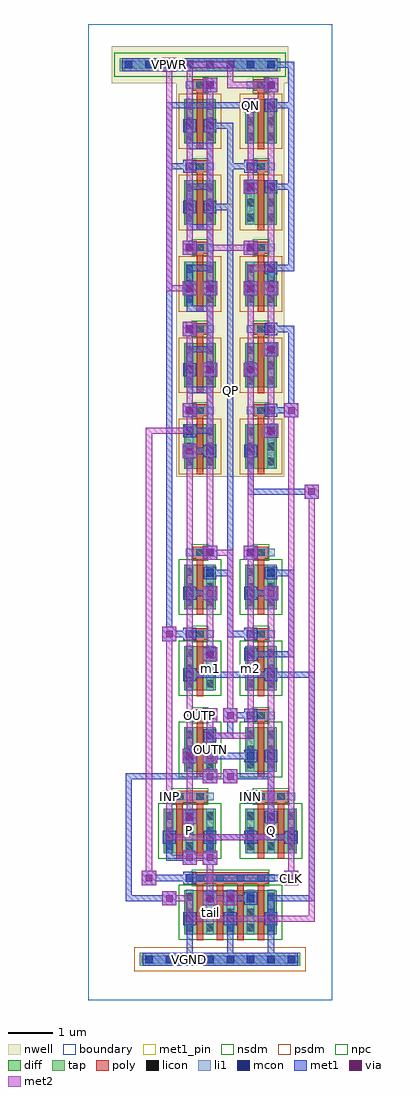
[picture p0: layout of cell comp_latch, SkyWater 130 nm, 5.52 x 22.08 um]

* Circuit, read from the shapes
.subckt comp_latch CLK INN INP OUTN OUTP P Q QN QP VGND VPWR m1 m2 tail
XM1 P INP tail VGND sky130_fd_pr__nfet_01v8 w=1 l=0.15 m=2
XM2 tail CLK VGND VGND sky130_fd_pr__nfet_01v8 w=1 l=0.15 m=4
XM3 OUTN OUTP P VGND sky130_fd_pr__nfet_01v8 w=1 l=0.15
XM4 m1 QN VGND VGND sky130_fd_pr__nfet_01v8 w=1 l=0.15
XM5 QP OUTN m1 VGND sky130_fd_pr__nfet_01v8 w=1 l=0.15
XM6 Q INN tail VGND sky130_fd_pr__nfet_01v8 w=1 l=0.15 m=2
XM7 Q OUTN OUTP VGND sky130_fd_pr__nfet_01v8 w=1 l=0.15
XM8 VGND QP m2 VGND sky130_fd_pr__nfet_01v8 w=1 l=0.15
XM9 m2 OUTP QN VGND sky130_fd_pr__nfet_01v8 w=1 l=0.15
XM10 P CLK VPWR VPWR sky130_fd_pr__pfet_01v8 w=1 l=0.15
XM11 OUTN CLK VPWR VPWR sky130_fd_pr__pfet_01v8 w=1 l=0.15
XM12 OUTN OUTP VPWR VPWR sky130_fd_pr__pfet_01v8 w=1 l=0.15
XM13 QP QN VPWR VPWR sky130_fd_pr__pfet_01v8 w=1 l=0.15
XM14 QP OUTN VPWR VPWR sky130_fd_pr__pfet_01v8 w=1 l=0.15
XM15 VPWR CLK Q VPWR sky130_fd_pr__pfet_01v8 w=1 l=0.15
XM16 VPWR CLK OUTP VPWR sky130_fd_pr__pfet_01v8 w=1 l=0.15
XM17 VPWR OUTN OUTP VPWR sky130_fd_pr__pfet_01v8 w=1 l=0.15
XM18 VPWR QP QN VPWR sky130_fd_pr__pfet_01v8 w=1 l=0.15
XM19 VPWR OUTP QN VPWR sky130_fd_pr__pfet_01v8 w=1 l=0.15
.ends

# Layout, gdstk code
import gdstk
lib = gdstk.Library(unit=1e-6, precision=1e-09)
def R(c, l, rs):  # rectangles x0, y0, x1, y1
    for r in rs: c.add(gdstk.rectangle(r[:2], r[2:], *l))
def A(c, l, x, y, w, h, nx, ny, dx, dy):  # array of equal rectangles
    R(c, l, [(x+i*dx, y+j*dy, x+i*dx+w, y+j*dy+h) for i in range(nx) for j in range(ny)])
nwell = (64, 20)
diff = (65, 20)
tap = (65, 44)
poly = (66, 20)
licon = (66, 44)
li1 = (67, 20)
mcon = (67, 44)
met1_pin = (68, 16)
met1 = (68, 20)
via = (68, 44)
met2 = (69, 20)
nsdm = (93, 44)
psdm = (94, 20)
npc = (95, 20)
boundary = (235, 4)

comp_latch = lib.new_cell('comp_latch')
R(comp_latch, nwell, [(1.995,11.84,4.445,20.74), (0.535,20.74,4.525,21.58)])
A(comp_latch, diff, 2.175, 5.165, 0.71, 1, 1, 3, 0, 1.84)
A(comp_latch, diff, 3.555, 5.165, 0.71, 1, 1, 3, 0, 1.84)
A(comp_latch, diff, 2.175, 12.02, 0.71, 1, 1, 5, 0, 1.84)
A(comp_latch, diff, 3.555, 12.02, 0.71, 1, 1, 5, 0, 1.84)
R(comp_latch, diff, [(2.175,1.485,4.265,2.485), (1.715,3.325,2.885,4.325), (3.555,3.325,4.725,4.325)])
R(comp_latch, tap, [(1.175,0.775,4.805,1.065), (0.715,21.015,4.345,21.305)])
A(comp_latch, poly, 2.455, 1.355, 0.15, 1.405, 4, 1, 0.46, 0)
A(comp_latch, poly, 2.455, 3.195, 0.15, 1.405, 1, 4, 0, 1.84)
A(comp_latch, poly, 3.835, 3.195, 0.15, 1.405, 1, 4, 0, 1.84)
A(comp_latch, poly, 2.365, 6.305, 0.33, 0.27, 1, 3, 0, 1.84)
A(comp_latch, poly, 3.745, 6.305, 0.33, 0.27, 1, 3, 0, 1.84)
A(comp_latch, poly, 2.455, 11.89, 0.15, 1.45, 1, 5, 0, 1.84)
A(comp_latch, poly, 3.835, 11.89, 0.15, 1.45, 1, 5, 0, 1.84)
A(comp_latch, poly, 2.365, 13.205, 0.33, 0.27, 1, 5, 0, 1.84)
A(comp_latch, poly, 3.745, 13.205, 0.33, 0.27, 1, 5, 0, 1.84)
R(comp_latch, poly, [(2.365,2.625,4.075,2.895), (1.995,3.195,2.145,4.6), (4.295,3.195,4.445,4.6), (1.905,4.465,2.695,4.735), (3.745,4.465,4.535,4.735)])
A(comp_latch, licon, 1.295, 0.835, 0.17, 0.17, 8, 1, 0.46, 0)
A(comp_latch, licon, 2.215, 1.56, 0.17, 0.17, 5, 3, 0.46, 0.34)
A(comp_latch, licon, 2.445, 2.675, 0.17, 0.17, 4, 1, 0.46, 0)
A(comp_latch, licon, 1.755, 3.4, 0.17, 0.17, 3, 3, 0.46, 0.34)
A(comp_latch, licon, 3.595, 3.4, 0.17, 0.17, 3, 3, 0.46, 0.34)
A(comp_latch, licon, 2.445, 4.515, 0.17, 0.17, 1, 4, 0, 1.84)
A(comp_latch, licon, 3.825, 4.515, 0.17, 0.17, 1, 4, 0, 1.84)
A(comp_latch, licon, 2.215, 5.24, 0.17, 0.17, 1, 3, 0, 0.34)
A(comp_latch, licon, 2.675, 5.24, 0.17, 0.17, 1, 3, 0, 0.34)
A(comp_latch, licon, 3.595, 5.24, 0.17, 0.17, 1, 3, 0, 0.34)
A(comp_latch, licon, 4.055, 5.24, 0.17, 0.17, 1, 3, 0, 0.34)
A(comp_latch, licon, 2.215, 7.08, 0.17, 0.17, 1, 3, 0, 0.34)
A(comp_latch, licon, 2.675, 7.08, 0.17, 0.17, 1, 3, 0, 0.34)
A(comp_latch, licon, 3.595, 7.08, 0.17, 0.17, 1, 3, 0, 0.34)
A(comp_latch, licon, 4.055, 7.08, 0.17, 0.17, 1, 3, 0, 0.34)
A(comp_latch, licon, 2.215, 8.92, 0.17, 0.17, 1, 3, 0, 0.34)
A(comp_latch, licon, 2.675, 8.92, 0.17, 0.17, 1, 3, 0, 0.34)
A(comp_latch, licon, 3.595, 8.92, 0.17, 0.17, 1, 3, 0, 0.34)
A(comp_latch, licon, 4.055, 8.92, 0.17, 0.17, 1, 3, 0, 0.34)
A(comp_latch, licon, 2.215, 12.095, 0.17, 0.17, 1, 3, 0, 0.34)
A(comp_latch, licon, 2.675, 12.095, 0.17, 0.17, 1, 3, 0, 0.34)
A(comp_latch, licon, 3.595, 12.095, 0.17, 0.17, 1, 3, 0, 0.34)
A(comp_latch, licon, 4.055, 12.095, 0.17, 0.17, 1, 3, 0, 0.34)
A(comp_latch, licon, 2.445, 13.255, 0.17, 0.17, 1, 5, 0, 1.84)
A(comp_latch, licon, 3.825, 13.255, 0.17, 0.17, 1, 5, 0, 1.84)
A(comp_latch, licon, 2.215, 13.935, 0.17, 0.17, 1, 3, 0, 0.34)
A(comp_latch, licon, 2.675, 13.935, 0.17, 0.17, 1, 3, 0, 0.34)
A(comp_latch, licon, 3.595, 13.935, 0.17, 0.17, 1, 3, 0, 0.34)
A(comp_latch, licon, 4.055, 13.935, 0.17, 0.17, 1, 3, 0, 0.34)
A(comp_latch, licon, 2.215, 15.775, 0.17, 0.17, 1, 3, 0, 0.34)
A(comp_latch, licon, 2.675, 15.775, 0.17, 0.17, 1, 3, 0, 0.34)
A(comp_latch, licon, 3.595, 15.775, 0.17, 0.17, 1, 3, 0, 0.34)
A(comp_latch, licon, 4.055, 15.775, 0.17, 0.17, 1, 3, 0, 0.34)
A(comp_latch, licon, 2.215, 17.615, 0.17, 0.17, 1, 3, 0, 0.34)
A(comp_latch, licon, 2.675, 17.615, 0.17, 0.17, 1, 3, 0, 0.34)
A(comp_latch, licon, 3.595, 17.615, 0.17, 0.17, 1, 3, 0, 0.34)
A(comp_latch, licon, 4.055, 17.615, 0.17, 0.17, 1, 3, 0, 0.34)
A(comp_latch, licon, 2.215, 19.455, 0.17, 0.17, 1, 3, 0, 0.34)
A(comp_latch, licon, 2.675, 19.455, 0.17, 0.17, 1, 3, 0, 0.34)
A(comp_latch, licon, 3.595, 19.455, 0.17, 0.17, 1, 3, 0, 0.34)
A(comp_latch, licon, 4.055, 19.455, 0.17, 0.17, 1, 3, 0, 0.34)
A(comp_latch, licon, 0.835, 21.075, 0.17, 0.17, 8, 1, 0.46, 0)
R(comp_latch, licon, [(1.985,4.515,2.155,4.685), (4.285,4.515,4.455,4.685)])
A(comp_latch, li1, 2.215, 1.48, 0.17, 1.01, 5, 1, 0.46, 0)
A(comp_latch, li1, 1.755, 3.32, 0.17, 1.01, 3, 1, 0.46, 0)
A(comp_latch, li1, 3.595, 3.32, 0.17, 1.01, 3, 1, 0.46, 0)
A(comp_latch, li1, 2.215, 5.16, 0.17, 1.01, 1, 3, 0, 1.84)
A(comp_latch, li1, 2.675, 5.16, 0.17, 1.01, 1, 3, 0, 1.84)
A(comp_latch, li1, 3.595, 5.16, 0.17, 1.01, 1, 3, 0, 1.84)
A(comp_latch, li1, 4.055, 5.16, 0.17, 1.01, 1, 3, 0, 1.84)
A(comp_latch, li1, 2.215, 6.355, 0.63, 0.17, 1, 3, 0, 1.84)
A(comp_latch, li1, 3.595, 6.355, 0.63, 0.17, 1, 3, 0, 1.84)
A(comp_latch, li1, 2.215, 12.015, 0.17, 1.01, 1, 5, 0, 1.84)
A(comp_latch, li1, 2.675, 12.015, 0.17, 1.01, 1, 5, 0, 1.84)
A(comp_latch, li1, 3.595, 12.015, 0.17, 1.01, 1, 5, 0, 1.84)
A(comp_latch, li1, 4.055, 12.015, 0.17, 1.01, 1, 5, 0, 1.84)
A(comp_latch, li1, 2.215, 13.255, 0.63, 0.17, 1, 5, 0, 1.84)
A(comp_latch, li1, 3.595, 13.255, 0.63, 0.17, 1, 5, 0, 1.84)
R(comp_latch, li1, [(1.215,0.835,4.765,1.005), (2.215,2.675,4.225,2.845), (1.755,4.515,2.845,4.685), (3.595,4.515,4.685,4.685), (0.755,21.075,4.305,21.245)])
A(comp_latch, mcon, 1.295, 0.835, 0.17, 0.17, 8, 1, 0.46, 0)
A(comp_latch, mcon, 2.215, 1.755, 0.17, 0.17, 3, 1, 0.92, 0)
A(comp_latch, mcon, 2.215, 2.675, 0.17, 0.17, 1, 3, 0, 1.38)
A(comp_latch, mcon, 1.755, 3.595, 0.17, 0.17, 4, 1, 0.92, 0)
A(comp_latch, mcon, 3.595, 4.515, 0.17, 0.17, 1, 3, 0, 0.92)
A(comp_latch, mcon, 2.215, 7.275, 0.17, 0.17, 1, 3, 0, 0.92)
A(comp_latch, mcon, 3.595, 8.195, 0.17, 0.17, 1, 3, 0, 0.92)
A(comp_latch, mcon, 2.675, 12.335, 0.17, 0.17, 1, 5, 0, 1.84)
A(comp_latch, mcon, 3.595, 12.335, 0.17, 0.17, 1, 3, 0, 1.84)
A(comp_latch, mcon, 2.215, 13.255, 0.17, 0.17, 1, 8, 0, 0.92)
A(comp_latch, mcon, 4.055, 16.475, 0.17, 0.17, 1, 3, 0, 1.84)
A(comp_latch, mcon, 0.835, 21.075, 0.17, 0.17, 8, 1, 0.46, 0)
R(comp_latch, mcon, [(2.675,2.215,2.845,2.385), (3.595,2.215,3.765,2.385), (4.055,4.055,4.225,4.225), (1.755,4.515,1.925,4.685), (4.055,5.435,4.225,5.605), (2.675,5.895,2.845,6.065), (2.675,6.355,2.845,6.525), (4.055,7.275,4.225,7.445), (2.675,7.735,2.845,7.905), (3.595,7.735,3.765,7.905), (2.675,9.575,2.845,9.745), (4.055,9.575,4.225,9.745), (2.675,10.035,2.845,10.205), (2.215,12.795,2.385,12.965), (4.055,12.795,4.225,12.965), (4.055,13.255,4.225,13.425), (4.055,14.635,4.225,14.805), (4.055,15.095,4.225,15.265), (3.595,16.935,3.765,17.105), (3.595,18.315,3.765,18.485), (3.595,18.775,3.765,18.945), (3.595,20.155,3.765,20.325), (2.675,20.615,2.845,20.785), (4.055,20.615,4.225,20.785)])
R(comp_latch, met1_pin, [(2.23,0.85,2.37,0.99), (4.44,2.6,4.76,2.92), (1.695,4.455,1.985,4.745), (3.535,4.455,3.825,4.745), (3.15,9.59,3.29,18.01), (3.535,20.095,3.825,20.385), (1.77,21.09,1.91,21.23)])
A(comp_latch, met1, 2.23, 0.85, 0.14, 1.06, 3, 1, 0.92, 0)
A(comp_latch, met1, 2.155, 1.695, 0.29, 0.29, 3, 1, 0.92, 0)
A(comp_latch, met1, 2.155, 2.615, 0.29, 0.29, 1, 3, 0, 1.38)
A(comp_latch, met1, 1.695, 3.535, 0.29, 0.29, 4, 1, 0.92, 0)
A(comp_latch, met1, 3.535, 4.455, 0.29, 0.29, 1, 3, 0, 0.92)
A(comp_latch, met1, 2.6, 6.28, 0.32, 0.32, 1, 3, 0, 1.38)
A(comp_latch, met1, 2.155, 7.215, 0.29, 0.29, 1, 3, 0, 0.92)
A(comp_latch, met1, 3.535, 8.135, 0.29, 0.29, 1, 3, 0, 0.92)
A(comp_latch, met1, 2.615, 12.275, 0.29, 0.29, 1, 5, 0, 1.84)
A(comp_latch, met1, 3.535, 12.275, 0.29, 0.29, 1, 3, 0, 1.84)
A(comp_latch, met1, 2.23, 12.81, 0.6, 0.14, 1, 8, 0, 0.92)
A(comp_latch, met1, 2.69, 12.81, 0.14, 1.06, 1, 4, 0, 1.84)
A(comp_latch, met1, 2.155, 13.195, 0.29, 0.29, 1, 8, 0, 0.92)
A(comp_latch, met1, 2.14, 15.02, 0.32, 0.32, 1, 3, 0, 0.92)
A(comp_latch, met1, 3.995, 16.415, 0.29, 0.29, 1, 3, 0, 1.84)
A(comp_latch, met1, 4.07, 16.49, 0.6, 0.14, 1, 3, 0, 1.84)
R(comp_latch, met1, [(1.235,0.775,4.745,1.065), (2.23,0.85,2.37,0.99), (2.23,0.85,3.29,0.99), (3.15,0.85,4.21,0.99), (4.07,1.77,4.21,2.37), (1.68,2.14,2,2.46), (2.6,2.14,2.92,2.46), (3.06,2.14,3.38,2.46), (2.615,2.155,2.905,2.445), (3.535,2.155,3.825,2.445), (0.85,2.23,1.91,2.37), (0.85,2.23,0.99,5.13), (3.15,2.23,3.75,2.37), (4.07,2.23,5.13,2.37), (4.99,2.23,5.13,7.43), (1.22,2.6,1.54,2.92), (4.44,2.6,4.76,2.92), (1.31,2.69,2.37,2.83), (2.23,2.69,4.67,2.83), (2.14,3.06,2.46,3.38), (2.6,3.06,2.92,3.38), (1.77,3.15,2.37,3.29), (1.77,3.15,1.91,3.75), (2.69,3.15,2.83,3.75), (2.69,3.61,3.75,3.75), (3.61,3.61,4.67,3.75), (2.14,3.98,2.46,4.3), (3.995,3.995,4.285,4.285), (4.07,4.07,4.21,5.59), (1.695,4.455,1.985,4.745), (2.6,4.9,2.92,5.22), (3.06,4.9,3.38,5.22), (0.85,4.99,2.83,5.13), (3.15,4.99,4.21,5.13), (2.14,5.36,2.46,5.68), (2.6,5.36,2.92,5.68), (3.995,5.375,4.285,5.665), (2.69,5.45,3.75,5.59), (2.615,5.835,2.905,6.125), (2.69,5.91,3.29,6.05), (3.15,5.91,3.29,6.51), (3.06,6.28,3.38,6.6), (2.615,6.295,2.905,6.585), (3.15,6.37,3.75,6.51), (3.995,7.215,4.285,7.505), (2.23,7.29,4.21,7.43), (4.07,7.29,5.13,7.43), (2.615,7.675,2.905,7.965), (3.535,7.675,3.825,7.965), (3.61,7.75,4.67,7.89), (4.53,7.75,4.67,9.73), (1.68,8.12,2,8.44), (1.77,8.21,1.91,18.93), (1.77,8.21,2.37,8.35), (3.15,8.21,3.75,8.35), (3.15,8.21,3.29,9.73), (3.98,9.04,4.3,9.36), (2.23,9.13,2.83,9.27), (3.61,9.13,4.21,9.27), (2.615,9.515,2.905,9.805), (3.995,9.515,4.285,9.805), (2.69,9.59,3.29,9.73), (3.15,9.59,3.29,18.01), (4.07,9.59,4.67,9.73), (2.6,9.96,2.92,10.28), (3.52,9.96,3.84,10.28), (2.615,9.975,2.905,10.265), (4.9,11.34,5.22,11.66), (3.61,11.43,3.75,12.49), (3.61,11.43,5.13,11.57), (2.14,12.26,2.46,12.58), (2.23,12.35,2.83,12.49), (3.98,12.72,4.3,13.04), (2.155,12.735,2.445,13.025), (3.995,12.735,4.285,13.025), (2.14,13.18,2.46,13.5), (4.44,13.18,4.76,13.5), (3.995,13.195,4.285,13.485), (4.07,13.27,4.67,13.41), (4.53,13.27,4.67,15.25), (2.23,13.73,2.37,14.33), (2.6,14.1,2.92,14.42), (3.52,14.1,3.84,14.42), (2.23,14.19,2.37,14.79), (3.98,14.56,4.3,14.88), (3.995,14.575,4.285,14.865), (3.995,15.035,4.285,15.325), (4.07,15.11,4.67,15.25), (2.23,15.57,2.37,16.17), (2.6,15.94,2.92,16.26), (3.52,15.94,3.84,16.26), (3.98,15.94,4.3,16.26), (2.23,16.03,2.37,16.63), (4.07,16.03,4.21,16.63), (4.53,16.49,4.67,18.47), (3.52,16.86,3.84,17.18), (3.535,16.875,3.825,17.165), (2.23,17.41,2.37,18.01), (2.23,17.87,2.37,18.47), (2.69,17.87,3.29,18.01), (3.15,17.87,3.29,18.93), (3.52,18.24,3.84,18.56), (3.535,18.255,3.825,18.545), (4.53,18.33,4.67,20.31), (3.535,18.715,3.825,19.005), (1.77,18.79,2.37,18.93), (1.77,18.79,1.91,20.31), (3.15,18.79,3.75,18.93), (3.15,18.79,3.29,19.85), (2.23,19.25,2.37,19.85), (2.69,19.71,3.29,19.85), (3.52,20.08,3.84,20.4), (3.535,20.095,3.825,20.385), (1.77,20.17,3.75,20.31), (4.53,20.17,4.67,21.23), (2.6,20.54,2.92,20.86), (3.98,20.54,4.3,20.86), (2.615,20.555,2.905,20.845), (3.995,20.555,4.285,20.845), (1.68,21,2,21.32), (0.775,21.015,4.285,21.305), (1.77,21.09,1.91,21.23), (1.77,21.09,4.67,21.23)])
A(comp_latch, via, 2.685, 6.365, 0.15, 0.15, 1, 3, 0, 1.38)
A(comp_latch, via, 2.225, 15.105, 0.15, 0.15, 1, 3, 0, 0.92)
R(comp_latch, via, [(1.765,2.225,1.915,2.375), (2.685,2.225,2.835,2.375), (3.145,2.225,3.295,2.375), (1.305,2.685,1.455,2.835), (4.525,2.685,4.675,2.835), (2.225,3.145,2.375,3.295), (2.685,3.145,2.835,3.295), (2.225,4.065,2.375,4.215), (2.685,4.985,2.835,5.135), (3.145,4.985,3.295,5.135), (2.225,5.445,2.375,5.595), (2.685,5.445,2.835,5.595), (3.145,6.365,3.295,6.515), (1.765,8.205,1.915,8.355), (4.065,9.125,4.215,9.275), (2.685,10.045,2.835,10.195), (3.605,10.045,3.755,10.195), (4.985,11.425,5.135,11.575), (2.225,12.345,2.375,12.495), (4.065,12.805,4.215,12.955), (2.225,13.265,2.375,13.415), (4.525,13.265,4.675,13.415), (2.685,14.185,2.835,14.335), (3.605,14.185,3.755,14.335), (4.065,14.645,4.215,14.795), (2.685,16.025,2.835,16.175), (3.605,16.025,3.755,16.175), (4.065,16.025,4.215,16.175), (3.605,16.945,3.755,17.095), (3.605,18.325,3.755,18.475), (3.605,20.165,3.755,20.315), (2.685,20.625,2.835,20.775), (4.065,20.625,4.215,20.775), (1.765,21.085,1.915,21.235)])
A(comp_latch, met2, 2.6, 6.28, 0.32, 0.32, 1, 3, 0, 1.38)
A(comp_latch, met2, 2.14, 15.02, 0.32, 0.32, 1, 3, 0, 0.92)
R(comp_latch, met2, [(2.23,1.77,2.37,2.37), (2.23,1.77,5.13,1.91), (4.99,1.77,5.13,11.57), (1.68,2.14,2,2.46), (2.6,2.14,2.92,2.46), (3.06,2.14,3.38,2.46), (1.77,2.23,2.37,2.37), (2.69,2.23,3.29,2.37), (2.69,2.23,2.83,3.29), (1.22,2.6,1.54,2.92), (4.44,2.6,4.76,2.92), (1.31,2.69,1.45,12.95), (4.53,2.69,4.67,13.41), (2.14,3.06,2.46,3.38), (2.6,3.06,2.92,3.38), (2.23,3.15,2.83,3.29), (1.77,3.61,1.91,8.35), (1.77,3.61,4.21,3.75), (4.07,3.61,4.21,9.27), (2.14,3.98,2.46,4.3), (2.23,4.07,2.37,5.59), (2.6,4.9,2.92,5.22), (3.06,4.9,3.38,5.22), (2.69,4.99,3.29,5.13), (2.14,5.36,2.46,5.68), (2.6,5.36,2.92,5.68), (2.23,5.45,2.37,12.49), (2.69,5.45,2.83,6.51), (2.69,5.91,3.75,6.05), (3.61,5.91,3.75,10.19), (3.06,6.28,3.38,6.6), (3.15,6.37,3.29,10.19), (2.69,7.75,2.83,9.27), (1.68,8.12,2,8.44), (3.98,9.04,4.3,9.36), (2.6,9.96,2.92,10.28), (3.52,9.96,3.84,10.28), (2.69,10.05,3.29,10.19), (2.69,10.05,2.83,14.33), (3.61,10.05,3.75,14.33), (4.9,11.34,5.22,11.66), (2.14,12.26,2.46,12.58), (3.98,12.72,4.3,13.04), (1.31,12.81,2.37,12.95), (2.23,12.81,2.37,13.41), (4.07,12.81,4.21,14.79), (2.14,13.18,2.46,13.5), (4.44,13.18,4.76,13.5), (2.23,13.27,2.37,15.25), (2.6,14.1,2.92,14.42), (3.52,14.1,3.84,14.42), (2.69,14.19,2.83,16.17), (3.61,14.19,3.75,16.17), (3.98,14.56,4.3,14.88), (4.07,14.65,4.21,16.17), (2.6,15.94,2.92,16.26), (3.52,15.94,3.84,16.26), (3.98,15.94,4.3,16.26), (1.77,16.03,2.37,16.17), (1.77,16.03,1.91,21.23), (2.69,16.03,2.83,17.09), (3.61,16.03,3.75,16.63), (3.61,16.49,4.21,16.63), (4.07,16.49,4.21,20.77), (3.52,16.86,3.84,17.18), (2.23,16.95,2.37,21.23), (2.69,16.95,2.83,20.77), (2.69,16.95,3.75,17.09), (3.52,18.24,3.84,18.56), (3.61,18.33,3.75,20.31), (3.52,20.08,3.84,20.4), (2.6,20.54,2.92,20.86), (3.98,20.54,4.3,20.86), (3.15,20.63,4.21,20.77), (3.15,20.63,3.29,21.23), (1.68,21,2,21.32), (2.23,21.09,3.29,21.23)])
A(comp_latch, nsdm, 2.05, 5.04, 0.96, 1.25, 1, 3, 0, 1.84)
A(comp_latch, nsdm, 3.43, 5.04, 0.96, 1.25, 1, 3, 0, 1.84)
R(comp_latch, nsdm, [(2.05,1.36,4.39,2.61), (1.59,3.2,3.01,4.45), (3.43,3.2,4.85,4.45), (0.59,20.89,4.47,21.43)])
A(comp_latch, psdm, 2.05, 11.895, 0.96, 1.25, 1, 5, 0, 1.84)
A(comp_latch, psdm, 3.43, 11.895, 0.96, 1.25, 1, 5, 0, 1.84)
R(comp_latch, psdm, [(1.05,0.65,4.93,1.19)])
A(comp_latch, npc, 2.345, 6.255, 0.37, 0.37, 1, 3, 0, 1.84)
A(comp_latch, npc, 3.725, 6.255, 0.37, 0.37, 1, 3, 0, 1.84)
A(comp_latch, npc, 2.345, 13.155, 0.37, 0.37, 1, 5, 0, 1.84)
A(comp_latch, npc, 3.725, 13.155, 0.37, 0.37, 1, 5, 0, 1.84)
R(comp_latch, npc, [(2.345,2.575,4.095,2.945), (1.885,4.415,2.715,4.785), (3.725,4.415,4.555,4.785)])
R(comp_latch, boundary, [(0,0,5.52,22.08)])
comp_latch.add(gdstk.Label('tail', (2.76,1.985), layer=67, texttype=5))
comp_latch.add(gdstk.Label('P', (2.3,3.825), layer=67, texttype=5))
comp_latch.add(gdstk.Label('Q', (4.14,3.825), layer=67, texttype=5))
comp_latch.add(gdstk.Label('OUTP', (2.53,6.44), layer=67, texttype=5))
comp_latch.add(gdstk.Label('OUTN', (2.76,5.665), layer=67, texttype=5))
comp_latch.add(gdstk.Label('m1', (2.76,7.505), layer=67, texttype=5))
comp_latch.add(gdstk.Label('m2', (3.68,7.505), layer=67, texttype=5))
comp_latch.add(gdstk.Label('CLK', (4.6,2.76), layer=68, texttype=5))
comp_latch.add(gdstk.Label('INP', (1.84,4.6), layer=68, texttype=5))
comp_latch.add(gdstk.Label('INN', (3.68,4.6), layer=68, texttype=5))
comp_latch.add(gdstk.Label('QP', (3.22,13.8), layer=68, texttype=5))
comp_latch.add(gdstk.Label('QN', (3.68,20.24), layer=68, texttype=5))
comp_latch.add(gdstk.Label('VPWR', (1.84,21.16), layer=68, texttype=5))
comp_latch.add(gdstk.Label('VGND', (2.3,0.92), layer=68, texttype=5))
comp_latch.add(gdstk.Label('CLK', (4.6,2.76), layer=68, texttype=16))
comp_latch.add(gdstk.Label('INP', (1.84,4.6), layer=68, texttype=16))
comp_latch.add(gdstk.Label('INN', (3.68,4.6), layer=68, texttype=16))
comp_latch.add(gdstk.Label('QP', (3.22,13.8), layer=68, texttype=16))
comp_latch.add(gdstk.Label('QN', (3.68,20.24), layer=68, texttype=16))
comp_latch.add(gdstk.Label('VPWR', (1.84,21.16), layer=68, texttype=16))
comp_latch.add(gdstk.Label('VGND', (2.3,0.92), layer=68, texttype=16))

lib.write_gds('comp_latch.gds')
